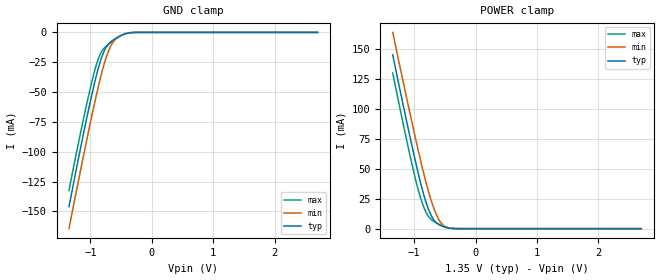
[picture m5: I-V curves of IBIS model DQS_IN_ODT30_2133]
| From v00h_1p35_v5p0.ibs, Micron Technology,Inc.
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| MODEL DQS_IN_ODT30_2133 (Data Strobe Input with 30ohm ODT, 2133Mbps)
[Model]   DQS_IN_ODT30_2133
Model_type   Input
Vinl = 545.000mV
Vinh = 805.000mV
|   typ   min   max
|C_comp   1.003pF   0.903pF   1.127pF
C_comp_power_clamp   0.5015pF   0.4515pF   0.5635pF
C_comp_gnd_clamp   0.5015pF   0.4515pF   0.5635pF
| Note: C_comp changes when the ODT circuit is enabled.
[Model Spec]
| Input threshold voltage corners
Vinl   0.5450V   0.5115V   0.5825V
Vinh   0.8050V   0.7715V   0.8425V
| Dynamic Overshoot Parameters from DDR3L Specification
D_overshoot_ampl_h   0.40   NA   NA
D_overshoot_ampl_l   0.40   NA   NA
D_overshoot_area_h   0.10n   NA   NA
D_overshoot_area_l   0.10n   NA   NA
[Receiver Thresholds]
|Vth   =  0.675V
|Vth_min  =  0.6615V
|Vth_max  =  0.6885V
|Vinh_ac  =  0.130V
|Vinh_dc  =  0.090V
|Vinl_ac  = -0.130V
|Vinl_dc  = -0.090V
|Tslew_ac =  5.000ns |Not specified, so set to high value
|Threshold_sensitivity = 0.50
|Reference_supply Power_clamp_ref
Vcross_low   = 0.545V
Vcross_high  = 0.805V
Vdiff_ac   = 260mV
Vdiff_dc   = 180mV
Tdiffslew_ac = 10.000ns |Not specified, so set to high value
[Voltage Range]   1.3500V   1.2830V   1.4250V
[POWER Clamp Reference]   1.3500V   1.2830V   1.4250V
| Junction Temperature (Ambient temp is 35C typ, 95C min, 0C max)
[Temperature Range]   50.0   110.0   0.0
[Add Submodel]
| Submodel Name   Mode
30ohm_ODT_2133   Non-Driving
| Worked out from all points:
|   GND clamp passes 1 mA (typ) near -0.42 V on its own axis
|   POWER clamp passes 1 mA (typ) near -0.48 V on its own axis
[GND Clamp]
|   Voltage   I(typ)   I(min)   I(max)
-1.35V    -146.2mA   -164.5mA   -132.5mA
-1.21V    -109.5mA   -128.1mA   -96.32mA
-1.08V    -76.63mA   -95.04mA   -64.51mA
-980mV    -52.82mA   -70.48mA   -41.89mA
-900mV    -35.56mA   -51.78mA   -26.51mA
-820mV    -21.43mA   -34.64mA   -16.33mA
-725mV    -11mA      -18.25mA   -10.77mA
-650mV    -7.118mA   -9.632mA   -7.774mA
-565mV    -4.295mA   -4.48mA    -4.739mA
-420mV    -972.8uA   -992.6uA   -972.2uA
-285mV    -51.4uA    -79.91uA   -32.63uA
2.7V      0A         0A         0A
[POWER Clamp]
|   Voltage   I(typ)   I(min)   I(max)
-1.35V    145.1mA    163.8mA    129.9mA
-1.18V    103.3mA    122.7mA    87.67mA
-1.055V   73.47mA    93.07mA    58.03mA
-960mV    51.8mA     71.21mA    37.44mA
-880mV    34.98mA    53.54mA    23.07mA
-790mV    19.4mA     35.26mA    12.01mA
-705mV    9.269mA    20.79mA    6.969mA
-605mV    3.73mA     8.193mA    3.781mA
-525mV    1.788mA    2.801mA    1.814mA
-435mV    528.8uA    725.1uA    459.8uA
-275mV    15.2uA     34.53uA    6.399uA
2.7V      0A         0A         0A
